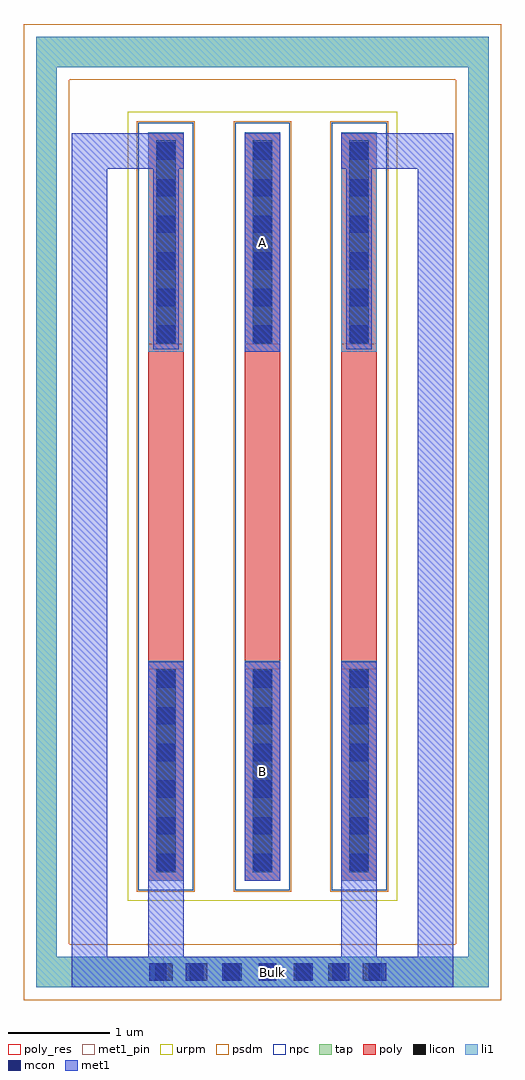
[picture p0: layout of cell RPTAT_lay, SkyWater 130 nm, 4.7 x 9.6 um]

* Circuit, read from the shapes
.subckt RPTAT_lay A B Bulk
XR1 Bulk Bulk Bulk sky130_fd_pr__res_xhigh_po w=0.35 l=3.08 m=2
XR2 A B Bulk sky130_fd_pr__res_xhigh_po w=0.35 l=3.08
.ends

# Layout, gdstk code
import gdstk
lib = gdstk.Library(unit=1e-6, precision=1e-09)
def R(c, l, rs):  # rectangles x0, y0, x1, y1
    for r in rs: c.add(gdstk.rectangle(r[:2], r[2:], *l))
def A(c, l, x, y, w, h, nx, ny, dx, dy):  # array of equal rectangles
    R(c, l, [(x+i*dx, y+j*dy, x+i*dx+w, y+j*dy+h) for i in range(nx) for j in range(ny)])
tap = (65, 44)
poly_res = (66, 13)
poly = (66, 20)
licon = (66, 44)
li1 = (67, 20)
mcon = (67, 44)
met1_pin = (68, 16)
met1 = (68, 20)
urpm = (79, 20)
psdm = (94, 20)
npc = (95, 20)

sky130_fd_pr__res_xhigh_ = lib.new_cell('sky130_fd_pr__res_xhigh_po_0p35_W89D3A')
R(sky130_fd_pr__res_xhigh_, poly_res, [(-0.175,-1.6,0.175,1.6)])
R(sky130_fd_pr__res_xhigh_, poly, [(-0.175,-3.68,0.175,3.68)])
R(sky130_fd_pr__res_xhigh_, licon, [(-0.095,-3.6,0.095,-1.6), (-0.095,1.6,0.095,3.6)])
R(sky130_fd_pr__res_xhigh_, li1, [(-0.175,-3.68,0.175,-1.52), (-0.175,1.52,0.175,3.68)])
A(sky130_fd_pr__res_xhigh_, mcon, -0.085, -3.585, 0.17, 0.17, 1, 6, 0, 0.36)
A(sky130_fd_pr__res_xhigh_, mcon, -0.085, 1.61, 0.17, 0.17, 1, 6, 0, 0.36)
R(sky130_fd_pr__res_xhigh_, met1, [(-0.125,-3.65,0.125,-1.545), (-0.125,1.545,0.125,3.65)])
R(sky130_fd_pr__res_xhigh_, urpm, [(-0.375,-3.88,0.375,3.88)])
R(sky130_fd_pr__res_xhigh_, psdm, [(-0.285,-3.79,0.285,3.79)])
R(sky130_fd_pr__res_xhigh_, npc, [(-0.27,-3.775,0.27,3.775)])
sky130_fd_pr__res_xhigh_.add(gdstk.Label('R2', (0,-3.505), layer=67, texttype=5))
sky130_fd_pr__res_xhigh_.add(gdstk.Label('R1', (0,3.505), layer=67, texttype=5))

rptat_lay = lib.new_cell('RPTAT_lay')
R(rptat_lay, tap, [(0.25,-1.55,4.7,-1.25), (0.25,-1.25,0.45,7.5), (4.5,-1.25,4.7,7.5), (0.25,7.5,4.7,7.8)])
A(rptat_lay, licon, 1.42, -1.485, 0.17, 0.17, 7, 1, 0.34, 0)
R(rptat_lay, li1, [(0.25,-1.55,4.7,-1.25), (0.25,-1.25,0.45,7.5), (4.5,-1.25,4.7,7.5), (0.25,7.5,4.7,7.8)])
A(rptat_lay, mcon, 1.36, -1.485, 0.17, 0.17, 7, 1, 0.36, 0)
R(rptat_lay, met1_pin, [(1.5,-1.55,3.65,-1.25), (2.3,-0.5,2.65,1.65), (2.3,4.7,2.65,6.85)])
R(rptat_lay, met1, [(0.6,-1.55,4.35,-1.25), (0.6,-1.25,0.95,6.5), (1.35,-1.25,1.7,1.65), (3.25,-1.25,3.6,1.65), (4,-1.25,4.35,6.5), (2.3,-0.5,2.65,1.65), (2.3,4.7,2.65,6.85), (0.6,6.5,1.7,6.85), (3.25,6.5,4.35,6.85)])
R(rptat_lay, urpm, [(1.9,-0.7,2.1,7.06), (2.85,-0.7,3.05,7.06)])
R(rptat_lay, psdm, [(0.125,-1.675,4.825,-1.125), (0.125,-1.125,0.575,7.375), (4.375,-1.125,4.825,7.375), (0.125,7.375,4.825,7.925)])
rptat_lay.add(gdstk.Reference(sky130_fd_pr__res_xhigh_, (2.475,3.18)))
rptat_lay.add(gdstk.Reference(sky130_fd_pr__res_xhigh_, (1.525,3.18)))
rptat_lay.add(gdstk.Reference(sky130_fd_pr__res_xhigh_, (3.425,3.18)))
rptat_lay.add(gdstk.Label('A', (2.475,5.775), layer=68, texttype=5))
rptat_lay.add(gdstk.Label('Bulk', (2.575,-1.4), layer=68, texttype=5))
rptat_lay.add(gdstk.Label('B', (2.475,0.575), layer=68, texttype=5))

lib.write_gds('RPTAT_lay.gds')
